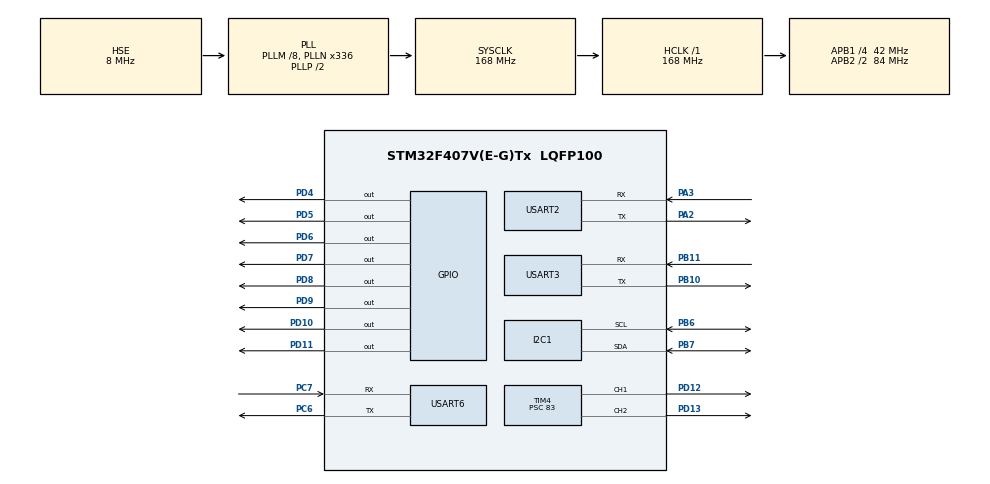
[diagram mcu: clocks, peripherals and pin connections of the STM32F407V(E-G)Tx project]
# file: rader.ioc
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FREERTOS.Queues01=uart3_rx_q,64,uint8_t,0,Dynamic,NULL,NULL
FREERTOS.Tasks01=ledTask,8,128,ledTask1,Default,NULL,Dynamic,NULL,NULL;esp32linkTask,24,512,esp32linkTask1,Default,NULL,Dynamic,NULL,NULL;gimbalTask,24,256,gimbalTask1,Default,NULL,Dynamic,NULL,NULL;distTask,16,256,distTask1,Default,NULL,Dynamic,NULL,NULL;oledTask,16,256,oledTask1,Default,NULL,Dynamic,NULL,NULL;esp8266Task,16,512,esp8266Task1,Default,NULL,Dynamic,NULL,NULL
I2C1.I2C_Mode=I2C_Fast
Mcu.Family=STM32F4
Mcu.Name=STM32F407V(E-G)Tx
Mcu.Package=LQFP100
NVIC.PriorityGroup=NVIC_PRIORITYGROUP_4
NVIC.TIM6_DAC_IRQn=true\:15\:0\:false\:false\:true\:false\:false\:true\:true
NVIC.TimeBase=TIM6_DAC_IRQn
NVIC.TimeBaseIP=TIM6
NVIC.USART2_IRQn=true\:5\:0\:false\:false\:true\:true\:true\:true\:true
NVIC.USART3_IRQn=true\:5\:0\:false\:false\:true\:true\:true\:true\:true
NVIC.USART6_IRQn=true\:5\:0\:false\:false\:true\:true\:true\:true\:true
PA13.Mode=Serial_Wire
PA13.Signal=SYS_JTMS-SWDIO
PA14.Mode=Serial_Wire
PA14.Signal=SYS_JTCK-SWCLK
PA2.Mode=Asynchronous
PA2.Signal=USART2_TX
PA3.Mode=Asynchronous
PA3.Signal=USART2_RX
PB10.Mode=Asynchronous
PB10.Signal=USART3_TX
PB11.Mode=Asynchronous
PB11.Signal=USART3_RX
PB6.Mode=I2C
PB6.Signal=I2C1_SCL
PB7.Mode=I2C
PB7.Signal=I2C1_SDA
PC6.Mode=Asynchronous
PC6.Signal=USART6_TX
PC7.Mode=Asynchronous
PC7.Signal=USART6_RX
PD10.PinState=GPIO_PIN_SET
PD10.Signal=GPIO_Output
PD11.PinState=GPIO_PIN_SET
PD11.Signal=GPIO_Output
PD12.Signal=S_TIM4_CH1
PD13.Signal=S_TIM4_CH2
PD4.Signal=GPIO_Output
PD5.Signal=GPIO_Output
PD6.Signal=GPIO_Output
PD7.Signal=GPIO_Output
PD8.Signal=GPIO_Output
PD9.Signal=GPIO_Output
PH0-OSC_IN.Mode=HSE-External-Oscillator
PH0-OSC_IN.Signal=RCC_OSC_IN
PH1-OSC_OUT.Mode=HSE-External-Oscillator
PH1-OSC_OUT.Signal=RCC_OSC_OUT
ProjectManager.HeapSize=0x200
ProjectManager.StackSize=0x400
ProjectManager.TargetToolchain=MDK-ARM V5
RCC.48MHZClocksFreq_Value=84000000
RCC.AHBFreq_Value=168000000
RCC.APB1CLKDivider=RCC_HCLK_DIV4
RCC.APB1Freq_Value=42000000
RCC.APB1TimFreq_Value=84000000
RCC.APB2CLKDivider=RCC_HCLK_DIV2
RCC.APB2Freq_Value=84000000
RCC.APB2TimFreq_Value=168000000
RCC.CortexFreq_Value=168000000
RCC.HCLKFreq_Value=168000000
RCC.HSE_VALUE=8000000
RCC.HSI_VALUE=16000000
RCC.LSE_VALUE=32768
RCC.PLLM=8
RCC.PLLN=336
RCC.PLLSourceVirtual=RCC_PLLSOURCE_HSE
RCC.SYSCLKFreq_VALUE=168000000
RCC.SYSCLKSource=RCC_SYSCLKSOURCE_PLLCLK
RCC.VCOOutputFreq_Value=336000000
SH.S_TIM4_CH1.0=TIM4_CH1,PWM Generation1 CH1
SH.S_TIM4_CH2.0=TIM4_CH2,PWM Generation2 CH2
TIM4.Channel-PWM\ Generation1\ CH1=TIM_CHANNEL_1
TIM4.Channel-PWM\ Generation2\ CH2=TIM_CHANNEL_2
TIM4.Period=19999
TIM4.Prescaler=83
TIM4.Pulse-PWM\ Generation1\ CH1=1500
TIM4.Pulse-PWM\ Generation2\ CH2=1500
USART2.VirtualMode=VM_ASYNC
USART3.VirtualMode=VM_ASYNC
USART6.VirtualMode=VM_ASYNC
VP_FREERTOS_VS_CMSIS_V2.Mode=CMSIS_V2
VP_SYS_VS_tim6.Mode=TIM6
VP_TIM4_VS_ClockSourceINT.Mode=Internal
board=custom

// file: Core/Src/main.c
/* USER CODE BEGIN Header */
/**
  ******************************************************************************
  * @file           : main.c
  * @brief          : Main program body
  ******************************************************************************
  * @attention
  *
  * Copyright (c) 2026 STMicroelectronics.
  * All rights reserved.
  *
  * This software is licensed under terms that can be found in the LICENSE file
  * in the root directory of this software component.
  * If no LICENSE file comes with this software, it is provided AS-IS.
  *
  ******************************************************************************
  */
#include <stdio.h>
/* USER CODE END Header */
#include "main.h"
#include "cmsis_os.h"
#include "i2c.h"
#include "tim.h"
#include "usart.h"
#include "gpio.h"

void SystemClock_Config(void);
void MX_FREERTOS_Init(void);

int main(void)
{

  /* MCU Configuration--------------------------------------------------------*/

  /* Reset of all peripherals, Initializes the Flash interface and the Systick. */
  HAL_Init();

  /* Configure the system clock */
  SystemClock_Config();

  /* Initialize all configured peripherals */
  MX_GPIO_Init();
  MX_I2C1_Init();
  MX_TIM4_Init();
  MX_USART2_UART_Init();
  MX_USART3_UART_Init();
  MX_USART6_UART_Init();

  /* Init scheduler */
  osKernelInitialize();  /* Call init function for freertos objects (in cmsis_os2.c) */
  MX_FREERTOS_Init();

  /* Start scheduler */
  osKernelStart();

  /* We should never get here as control is now taken by the scheduler */

  /* Infinite loop */
  while (1)
  {

  }
}

void SystemClock_Config(void)
{
  RCC_OscInitTypeDef RCC_OscInitStruct = {0};
  RCC_ClkInitTypeDef RCC_ClkInitStruct = {0};

  /** Configure the main internal regulator output voltage
  */
  __HAL_RCC_PWR_CLK_ENABLE();
  __HAL_PWR_VOLTAGESCALING_CONFIG(PWR_REGULATOR_VOLTAGE_SCALE1);

  /** Initializes the RCC Oscillators according to the specified parameters
  * in the RCC_OscInitTypeDef structure.
  */
  RCC_OscInitStruct.OscillatorType = RCC_OSCILLATORTYPE_HSE;
  RCC_OscInitStruct.HSEState = RCC_HSE_ON;
  RCC_OscInitStruct.PLL.PLLState = RCC_PLL_ON;
  RCC_OscInitStruct.PLL.PLLSource = RCC_PLLSOURCE_HSE;
  RCC_OscInitStruct.PLL.PLLM = 8;
  RCC_OscInitStruct.PLL.PLLN = 336;
  RCC_OscInitStruct.PLL.PLLP = RCC_PLLP_DIV2;
  RCC_OscInitStruct.PLL.PLLQ = 4;
  if (HAL_RCC_OscConfig(&RCC_OscInitStruct) != HAL_OK)
  {
    Error_Handler();
  }

  /** Initializes the CPU, AHB and APB buses clocks
  */
  RCC_ClkInitStruct.ClockType = RCC_CLOCKTYPE_HCLK|RCC_CLOCKTYPE_SYSCLK
                              |RCC_CLOCKTYPE_PCLK1|RCC_CLOCKTYPE_PCLK2;
  RCC_ClkInitStruct.SYSCLKSource = RCC_SYSCLKSOURCE_PLLCLK;
  RCC_ClkInitStruct.AHBCLKDivider = RCC_SYSCLK_DIV1;
  RCC_ClkInitStruct.APB1CLKDivider = RCC_HCLK_DIV4;
  RCC_ClkInitStruct.APB2CLKDivider = RCC_HCLK_DIV2;

  if (HAL_RCC_ClockConfig(&RCC_ClkInitStruct, FLASH_LATENCY_5) != HAL_OK)
  {
    Error_Handler();
  }
}

/* USER CODE BEGIN 4 */

int fputc(int ch, FILE *f)
{
    extern UART_HandleTypeDef huart2;
    HAL_UART_Transmit(&huart2, (uint8_t *)&ch, 1, 10);
    return ch;
}

/* USER CODE END 4 */

void HAL_TIM_PeriodElapsedCallback(TIM_HandleTypeDef *htim)
{
  if (htim->Instance == TIM6)
  {
    HAL_IncTick();
  }
}

void Error_Handler(void)
{
  __disable_irq();
  while (1)
  {
  }
}

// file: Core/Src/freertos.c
/* USER CODE BEGIN Header */
/**
  ******************************************************************************
  * File Name          : freertos.c
  * Description        : Code for freertos applications
  ******************************************************************************
  * @attention
  *
  * Copyright (c) 2026 STMicroelectronics.
  * All rights reserved.
  *
  * This software is licensed under terms that can be found in the LICENSE file
  * in the root directory of this software component.
  * If no LICENSE file comes with this software, it is provided AS-IS.
  *
  ******************************************************************************
  */
/* USER CODE END Header */

#include "FreeRTOS.h"
#include "task.h"
#include "main.h"
#include "cmsis_os.h"

/* USER CODE BEGIN Includes */
#include <stdio.h>
#include <string.h>
#include "usart.h"
#include "tim.h"
#include "bsp_ssd1306.h"
/* USER CODE END Includes */

/* USER CODE BEGIN PTD */
/* ESP32-S3 帧解析出的目标状态：唯一写者是 esp32linkTask，其余任务只读 */
typedef struct {
  int16_t  dx, dy;      /* 人脸中心相对画面中心的偏差（像素，右/下为正） */
  uint16_t dist_mm;     /* 单目测距 mm，0=无效 */
  uint8_t  has_target;  /* 0=无目标 1=有目标 */
  uint32_t last_ms;     /* 最近一次收到帧的时刻 */
} target_t;
/* USER CODE END PTD */

/* USER CODE BEGIN PD */
#define RX_LINE_LEN 48     /* 单帧缓冲：$000,000,320,240,# 约 18 字节 */
#define CAM_W 320          /* 模块检测分辨率（亚博 AI 固件 QVGA，实测确认） */
#define CAM_H 240
#define CAM_CENTER_X (CAM_W / 2)   /* 画面中心 160 */
#define CAM_CENTER_Y (CAM_H / 2)   /* 画面中心 120 */
#define FACE_DIST_K 68800  /* 单目测距系数，2026-09-07 标定：400mm × 框宽172px（脸距镜头40cm实测） */

/* 云台（SG90 ×2：TIM4 CH1=PD12 水平 / CH2=PD13 俯仰，50Hz，脉宽单位 µs） */
#define GIMBAL_PERIOD_MS 20
#define SERVO_PWM_MIN    500u
#define SERVO_PWM_MAX    2500u
#define SERVO_PWM_CENTER 1500u
#define GIMBAL_DEADZONE  8      /* 像素死区：人脸偏移小于此值不动，防抖 */
#define GIMBAL_KP        1.0f   /* 增量式 P：偏多少像素修多少 */
#define GIMBAL_KD        2.0f   /* D 项抑制超调 */
#define GIMBAL_SLEW      60     /* 每周期最大脉宽变化 µs（60/20ms → 满摆约 0.7s，动作柔和） */
#define GIMBAL_LOST_MS   1000   /* 丢目标超过 1s → 缓慢回中 */
#define PAN_INVERT       0      /* 装好后方向反了就改成 1 */
#define TILT_INVERT      0

/* OneNET 上云（新版 MQTT 物模型；要求 ESP8266 AT 固件 ≥ v2.0，用 AT+GMR 查版本）
 * OneNET 控制台操作：创建产品(选MQTT) → 功能定义加 person/dist 两个功能点 → 添加设备
 * → 把 产品ID/设备名称/token 填到下面三个宏（token 用官方 Token 生成工具做） */
#define ONENET_WIFI_SSID  "your_ssid"
#define ONENET_WIFI_PASS  "your_password"
#define ONENET_MQTT_HOST  "mqtts.heclouds.com"
#define ONENET_MQTT_PORT  1883
#define ONENET_PRODUCT_ID "your_product_id"    /* OneNET 产品ID */
#define ONENET_DEVICE_NAME "your_device_name"  /* OneNET 设备名称 */
#define ONENET_TOKEN      "your_token"         /* 设备 token（平台工具生成） */
#define ONENET_REPORT_MS  5000u                /* 上报周期 ms */
/* USER CODE END PD */

/* USER CODE BEGIN Variables */
volatile target_t g_target;
volatile uint16_t g_dist_filtered = 0;  /* distTask 滑动平均后的距离，OLED/上报读这个 */
volatile uint8_t  g_person_seen = 0;    /* 当前画面有没有人（含 1s 链路超时判断），OLED/上报读这个 */
uint8_t rx_byte;                        /* USART3 单字节接收缓冲（摄像头模块帧） */
uint8_t rx2_byte;                       /* USART2 单字节接收缓冲（DAPLink 控制台指令转发） */
osMessageQueueId_t uart2_rx_qHandle;    /* USART2 收到的字节进这里，由 esp32linkTask 转发给模块 */
static char    rx_line[RX_LINE_LEN];
static uint8_t rx_pos = 0;
static uint8_t rx_capturing = 0;        /* '$' 开始、'#' 结束的亚博帧捕获标志 */
/* USER CODE END Variables */
/* Definitions for ledTask */
osThreadId_t ledTaskHandle;
const osThreadAttr_t ledTask_attributes = {
  .name = "ledTask",
  .stack_size = 128 * 4,
  .priority = (osPriority_t) osPriorityLow,
};
/* Definitions for esp32linkTask */
osThreadId_t esp32linkTaskHandle;
const osThreadAttr_t esp32linkTask_attributes = {
  .name = "esp32linkTask",
  .stack_size = 512 * 4,
  .priority = (osPriority_t) osPriorityNormal,
};
/* Definitions for gimbalTask */
osThreadId_t gimbalTaskHandle;
const osThreadAttr_t gimbalTask_attributes = {
  .name = "gimbalTask",
  .stack_size = 256 * 4,
  .priority = (osPriority_t) osPriorityNormal,
};
/* Definitions for distTask */
osThreadId_t distTaskHandle;
const osThreadAttr_t distTask_attributes = {
  .name = "distTask",
  .stack_size = 256 * 4,
  .priority = (osPriority_t) osPriorityBelowNormal,
};
/* Definitions for oledTask */
osThreadId_t oledTaskHandle;
const osThreadAttr_t oledTask_attributes = {
  .name = "oledTask",
  .stack_size = 256 * 4,
  .priority = (osPriority_t) osPriorityBelowNormal,
};
/* Definitions for esp8266Task */
osThreadId_t esp8266TaskHandle;
const osThreadAttr_t esp8266Task_attributes = {
  .name = "esp8266Task",
  .stack_size = 512 * 4,
  .priority = (osPriority_t) osPriorityBelowNormal,
};
/* Definitions for uart3_rx_q */
osMessageQueueId_t uart3_rx_qHandle;
const osMessageQueueAttr_t uart3_rx_q_attributes = {
  .name = "uart3_rx_q"
};

/* USER CODE BEGIN FunctionPrototypes */
static void parse_line(const char *s);
static int  servo_clamp_slew(int cur, int cmd);
static void esp8266_send(const char *s);
static int  esp8266_wait(const char *expect, uint32_t timeout_ms);
/* USER CODE END FunctionPrototypes */

void ledTask1(void *argument);
void esp32linkTask1(void *argument);
void gimbalTask1(void *argument);
void distTask1(void *argument);
void oledTask1(void *argument);
void esp8266Task1(void *argument);

void MX_FREERTOS_Init(void); /* (MISRA C 2004 rule 8.1) */

void MX_FREERTOS_Init(void) {

  /* Create the queue(s) */
  /* creation of uart3_rx_q */
  uart3_rx_qHandle = osMessageQueueNew (64, sizeof(uint8_t), &uart3_rx_q_attributes);

  /* USER CODE BEGIN RTOS_QUEUES */
  /* DAPLink 控制台(USART2)→模块 指令转发队列（调试用：wifi_ver / ai_mode:2 等） */
  uart2_rx_qHandle = osMessageQueueNew(64, sizeof(uint8_t), NULL);
  /* USER CODE END RTOS_QUEUES */

  /* Create the thread(s) */
  /* creation of ledTask */
  ledTaskHandle = osThreadNew(ledTask1, NULL, &ledTask_attributes);

  /* creation of esp32linkTask */
  esp32linkTaskHandle = osThreadNew(esp32linkTask1, NULL, &esp32linkTask_attributes);

  /* creation of gimbalTask */
  gimbalTaskHandle = osThreadNew(gimbalTask1, NULL, &gimbalTask_attributes);

  /* creation of distTask */
  distTaskHandle = osThreadNew(distTask1, NULL, &distTask_attributes);

  /* creation of oledTask */
  oledTaskHandle = osThreadNew(oledTask1, NULL, &oledTask_attributes);

  /* creation of esp8266Task */
  esp8266TaskHandle = osThreadNew(esp8266Task1, NULL, &esp8266Task_attributes);

}

void ledTask1(void *argument)
{
  /* USER CODE BEGIN ledTask1 */
  /* 板载用户 LED 在 PB2，先把它配成推挽输出 */
  __HAL_RCC_GPIOB_CLK_ENABLE();
  GPIO_InitTypeDef led_init = {0};
  led_init.Pin = GPIO_PIN_2;
  led_init.Mode = GPIO_MODE_OUTPUT_PP;
  led_init.Pull = GPIO_NOPULL;
  led_init.Speed = GPIO_SPEED_FREQ_LOW;
  HAL_GPIO_Init(GPIOB, &led_init);
  /* Infinite loop */
  for(;;)
  {
   HAL_GPIO_TogglePin(GPIOB, GPIO_PIN_2);   // 板载绿灯心跳：每 500ms 翻转
   printf("rader alive, tick=%lu\r\n", HAL_GetTick());
   osDelay(500);
  }
  /* USER CODE END ledTask1 */
}

void esp32linkTask1(void *argument)
{
  /* USER CODE BEGIN esp32linkTask1 */
  /* 调度器、队列就绪后才启动串口接收中断（铁律：别放 main 里） */
  HAL_UART_Receive_IT(&huart3, &rx_byte, 1);
  HAL_UART_Receive_IT(&huart2, &rx2_byte, 1);
  /* 保险：等模块上电稳定后自动切人脸检测模式（已在模式则只回 OK，无害） */
  osDelay(3000);
  {
    static const char cmd[] = "ai_mode:2";
    HAL_UART_Transmit(&huart3, (uint8_t *)cmd, sizeof(cmd) - 1, 100);
  }
  for (;;)
  {
    uint8_t b;
    /* --- 1. 把 USART3 队列一次清空（帧字节连发，不能一个循环只吃一个） --- */
    while (osMessageQueueGet(uart3_rx_qHandle, &b, NULL, 0) == osOK)
    {
      if (b == '$')
      {
        rx_pos = 0;
        rx_capturing = 1;
      }
      else if (rx_capturing)
      {
        if (b == '#')
        {
          rx_line[rx_pos] = '\0';
          parse_line(rx_line);
          printf("[RX] %s\r\n", rx_line);   /* 调试用：收到什么打什么，验证后可删 */
          rx_capturing = 0;
        }
        else if (rx_pos < RX_LINE_LEN - 1)
        {
          rx_line[rx_pos++] = (char)b;
        }
        else
        {
          rx_capturing = 0;                 /* 超长脏帧，丢弃重新同步 */
        }
      }
    }
    /* --- 2. DAPLink 控制台(USART2)输入 → 原样转发给模块（非阻塞看一眼） --- */
    if (osMessageQueueGet(uart2_rx_qHandle, &b, NULL, 0) == osOK)
    {
      HAL_UART_Transmit(&huart3, &b, 1, 20);
    }
    osDelay(1);   /* 1ms 巡检一圈：115200 下 1ms 最多来 ~12 字节，64 深队列绰绰有余 */
  }
  /* USER CODE END esp32linkTask1 */
}

void gimbalTask1(void *argument)
{
  /* USER CODE BEGIN gimbalTask1 */
  HAL_TIM_PWM_Start(&htim4, TIM_CHANNEL_1);   /* PD12 水平舵机 */
  HAL_TIM_PWM_Start(&htim4, TIM_CHANNEL_2);   /* PD13 俯仰舵机 */
  __HAL_TIM_SET_COMPARE(&htim4, TIM_CHANNEL_1, SERVO_PWM_CENTER);
  __HAL_TIM_SET_COMPARE(&htim4, TIM_CHANNEL_2, SERVO_PWM_CENTER);

  float   pan = SERVO_PWM_CENTER, tilt = SERVO_PWM_CENTER;
  int     pan_out = SERVO_PWM_CENTER, tilt_out = SERVO_PWM_CENTER;
  int16_t prev_dx = 0, prev_dy = 0;
  const uint32_t period = GIMBAL_PERIOD_MS;
  uint32_t last = osKernelGetTickCount();

  for (;;)
  {
    int16_t dx = g_target.dx, dy = g_target.dy;
    int has = g_target.has_target &&
              (HAL_GetTick() - g_target.last_ms < GIMBAL_LOST_MS);

    if (has)
    {
      if (dx > -GIMBAL_DEADZONE && dx < GIMBAL_DEADZONE) dx = 0;
      if (dy > -GIMBAL_DEADZONE && dy < GIMBAL_DEADZONE) dy = 0;
#if PAN_INVERT
      dx = -dx;
#endif
#if TILT_INVERT
      dy = -dy;
#endif
      /* 增量式 PD：人脸每偏一个像素，本轮就朝那边修一点 */
      pan  += GIMBAL_KP * dx + GIMBAL_KD * (dx - prev_dx);
      tilt += GIMBAL_KP * dy + GIMBAL_KD * (dy - prev_dy);
      prev_dx = dx;
      prev_dy = dy;
    }
    else
    {
      /* 丢目标：缓慢回中，不猛甩 */
      if (pan  > SERVO_PWM_CENTER) pan  -= 5; else if (pan  < SERVO_PWM_CENTER) pan  += 5;
      if (tilt > SERVO_PWM_CENTER) tilt -= 5; else if (tilt < SERVO_PWM_CENTER) tilt += 5;
      prev_dx = 0;
      prev_dy = 0;
    }

    pan_out  = servo_clamp_slew(pan_out,  (int)pan);
    tilt_out = servo_clamp_slew(tilt_out, (int)tilt);
    __HAL_TIM_SET_COMPARE(&htim4, TIM_CHANNEL_1, (uint32_t)pan_out);
    __HAL_TIM_SET_COMPARE(&htim4, TIM_CHANNEL_2, (uint32_t)tilt_out);

    last += period;
    osDelayUntil(last);
  }
  /* USER CODE END gimbalTask1 */
}

void distTask1(void *argument)
{
  /* USER CODE BEGIN distTask1 */
  const uint32_t period = 50;                 /* 50ms 滤波周期 */
  uint32_t last = osKernelGetTickCount();
  static uint16_t buf[8];
  static uint8_t  idx = 0, cnt = 0;
  for (;;)
  {
    if (g_target.has_target && g_target.dist_mm > 0)
    {
      buf[idx] = g_target.dist_mm;
      idx = (idx + 1) % 8;
      if (cnt < 8) cnt++;
      uint32_t sum = 0;
      for (uint8_t i = 0; i < cnt; i++) sum += buf[i];
      g_dist_filtered = (uint16_t)(sum / cnt);
    }
    else
    {
      g_dist_filtered = 0;                    /* 无目标/无效距离 → 清零 */
      idx = 0; cnt = 0;
    }
    /* "有没有人"：有目标 且 1 秒内还有新帧才算（防 ESP32 断链后残留旧状态） */
    g_person_seen = (g_target.has_target &&
                     (HAL_GetTick() - g_target.last_ms < 1000)) ? 1 : 0;
    last += period;
    osDelayUntil(last);
  }
  /* USER CODE END distTask1 */
}

void oledTask1(void *argument)
{
  /* USER CODE BEGIN oledTask1 */
  char line[16];
  SSD1306_Init();                       /* 屏没接也不会卡死：ok=0，循环里自动跳过 */
  for (;;)
  {
    if (SSD1306_IsOK())
    {
      uint16_t dist = g_dist_filtered;  /* 先拷贝，避免刷新中途被别的任务改掉 */
      SSD1306_Fill(0x00);
      SSD1306_DrawString(0, 0, "Person:", 1);
      SSD1306_DrawString(48, 0, g_person_seen ? "YES" : "NO", 1);
      if (dist > 0) sprintf(line, "%u mm", (unsigned)dist);
      else          sprintf(line, "----");
      SSD1306_DrawString(0, 18, line, 2);   /* 距离放大一倍，远处看得清 */
      SSD1306_Flush();
    }
    osDelay(100);                     /* 10Hz 刷新 */
  }
  /* USER CODE END oledTask1 */
}

void esp8266Task1(void *argument)
{
  /* USER CODE BEGIN esp8266Task1 */
  /* OneNET 新版 MQTT 物模型上报。
   * 功能点需在 OneNET 产品里预先定义，标识符必须是 person 和 dist。 */
  int net_ok = 0, mqtt_ok = 0;
  char payload[96], topic[64], pub[192];
  osDelay(5000);                    /* 等 ESP8266 上电启动 */
  for (;;)
  {
    int person = g_person_seen;
    int dist    = g_dist_filtered;

    if (!net_ok)
    {
      esp8266_send("AT\r\n");
      if (!esp8266_wait("OK", 800)) { osDelay(2000); continue; }
      esp8266_send("AT+CWMODE=1\r\n");
      esp8266_wait("OK", 1000);
      snprintf(pub, sizeof(pub), "AT+CWJAP=\"%s\",\"%s\"\r\n",
               ONENET_WIFI_SSID, ONENET_WIFI_PASS);
      esp8266_send(pub);
      net_ok = esp8266_wait("WIFI GOT IP", 20000);
      if (!net_ok) { osDelay(3000); continue; }
    }

    if (!mqtt_ok)
    {
      snprintf(pub, sizeof(pub), "AT+MQTTUSERCFG=0,1,\"%s\",\"%s\",\"%s\",0,0,\"\"\r\n",
               ONENET_DEVICE_NAME, ONENET_PRODUCT_ID, ONENET_TOKEN);
      esp8266_send(pub);
      if (!esp8266_wait("OK", 3000)) { osDelay(2000); continue; }
      snprintf(pub, sizeof(pub), "AT+MQTTCONN=0,\"%s\",%d,1\r\n",
               ONENET_MQTT_HOST, ONENET_MQTT_PORT);
      esp8266_send(pub);
      mqtt_ok = esp8266_wait("+MQTTCONNECTED", 15000);
      if (!mqtt_ok)
      {
        esp8266_send("AT+MQTTCLEAN=0\r\n");
        esp8266_wait("OK", 1000);
        osDelay(3000);
        continue;
      }
    }

    /* 物模型属性上报：topic $sys/{产品ID}/{设备名}/dp/post/json，分三步拼装避免超长 */
    snprintf(payload, sizeof(payload),
             "{\"id\":\"1\",\"params\":{\"person\":{\"v\":%d},\"dist\":{\"v\":%d}}}",
             person, dist);
    snprintf(topic, sizeof(topic), "$sys/%s/%s/dp/post/json",
             ONENET_PRODUCT_ID, ONENET_DEVICE_NAME);
    snprintf(pub, sizeof(pub), "AT+MQTTPUB=0,\"%s\",\"%s\",1,0\r\n", topic, payload);
    esp8266_send(pub);
    if (!esp8266_wait("OK", 5000))  /* 发布失败 = 掉线，回到重连流程 */
    {
      mqtt_ok = 0;
      continue;
    }
    osDelay(ONENET_REPORT_MS);
  }
  /* USER CODE END esp8266Task1 */
}

/* USER CODE BEGIN Application */
/* 解析亚博人脸框：$x1,y1,x2,y2,#（左上角、右下角），算偏差+单目测距 */
static void parse_line(const char *s)
{
  int x1, y1, x2, y2;
  if (sscanf(s, "%d,%d,%d,%d", &x1, &y1, &x2, &y2) != 4) return;
  if (x1 == 0 && y1 == 0 && x2 >= CAM_W && y2 >= CAM_H)
  {
    /* 全画幅框 = 模块未检出人脸：立即置无人 */
    g_target.has_target = 0;
    g_target.dist_mm = 0;
    g_target.last_ms = HAL_GetTick();
    return;
  }
  int w = x2 - x1;
  g_target.dx = (int16_t)((x1 + x2) / 2 - CAM_CENTER_X);
  g_target.dy = (int16_t)((y1 + y2) / 2 - CAM_CENTER_Y);
  g_target.dist_mm = (w > 0) ? (uint16_t)(FACE_DIST_K / w) : 0;
  g_target.has_target = 1;
  g_target.last_ms = HAL_GetTick();
}

/* 串口收完一个字节：字节进队列 + 重新挂接收（中断里只做这两件事） */
void HAL_UART_RxCpltCallback(UART_HandleTypeDef *huart)
{
  if (huart->Instance == USART3)
  {
    osMessageQueuePut(uart3_rx_qHandle, &rx_byte, 0, 0);
    HAL_UART_Receive_IT(&huart3, &rx_byte, 1);
  }
  else if (huart->Instance == USART2)
  {
    osMessageQueuePut(uart2_rx_qHandle, &rx2_byte, 0, 0);
    HAL_UART_Receive_IT(&huart2, &rx2_byte, 1);
  }
}

/* 舵机脉宽限幅 + 变化限速：每周期最多动 GIMBAL_SLEW µs，动作柔和保护齿轮 */
static int servo_clamp_slew(int cur, int cmd)
{
  if (cmd < SERVO_PWM_MIN) cmd = SERVO_PWM_MIN;
  if (cmd > SERVO_PWM_MAX) cmd = SERVO_PWM_MAX;
  if (cmd > cur + GIMBAL_SLEW) cmd = cur + GIMBAL_SLEW;
  if (cmd < cur - GIMBAL_SLEW) cmd = cur - GIMBAL_SLEW;
  return cmd;
}

/* 向 ESP8266 发一串 AT 字符（USART6 阻塞发送） */
static void esp8266_send(const char *s)
{
  HAL_UART_Transmit(&huart6, (const uint8_t *)s, strlen(s), 500);
}

/* 等 ESP8266 回复里出现 expect 字样：出现返回 1，超时返回 0 */
static int esp8266_wait(const char *expect, uint32_t timeout_ms)
{
  char buf[96];
  uint16_t len = 0;
  uint32_t start = HAL_GetTick();
  memset(buf, 0, sizeof(buf));
  while (HAL_GetTick() - start < timeout_ms)
  {
    uint8_t ch;
    if (HAL_UART_Receive(&huart6, &ch, 1, 20) == HAL_OK)
    {
      if (len == sizeof(buf) - 1)         /* 缓冲满了丢前一半，保留最新尾巴 */
      {
        memmove(buf, buf + 48, len - 48);
        len -= 48;
      }
      buf[len++] = (char)ch;
      if (strstr(buf, expect) != NULL) return 1;
    }
  }
  return 0;
}
/* USER CODE END Application */
